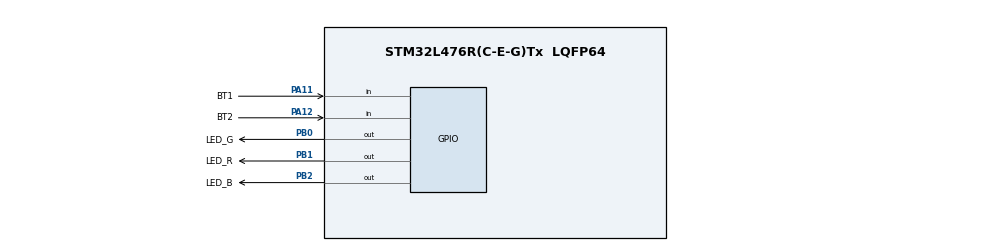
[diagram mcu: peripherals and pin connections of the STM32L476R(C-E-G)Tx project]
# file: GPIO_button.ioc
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Mcu.Family=STM32L4
Mcu.Name=STM32L476R(C-E-G)Tx
Mcu.Package=LQFP64
NVIC.PriorityGroup=NVIC_PRIORITYGROUP_4
PA11.GPIO_Label=BT1
PA11.GPIO_PuPd=GPIO_PULLUP
PA11.Signal=GPIO_Input
PA12.GPIO_Label=BT2
PA12.GPIO_PuPd=GPIO_PULLUP
PA12.Signal=GPIO_Input
PA13\ (JTMS-SWDIO).Mode=Serial_Wire
PA13\ (JTMS-SWDIO).Signal=SYS_JTMS-SWDIO
PA14\ (JTCK-SWCLK).Mode=Serial_Wire
PA14\ (JTCK-SWCLK).Signal=SYS_JTCK-SWCLK
PB0.GPIO_Label=LED_G
PB0.Signal=GPIO_Output
PB1.GPIO_Label=LED_R
PB1.Signal=GPIO_Output
PB2.GPIO_Label=LED_B
PB2.Signal=GPIO_Output
PH0-OSC_IN\ (PH0).Mode=HSE-External-Oscillator
PH0-OSC_IN\ (PH0).Signal=RCC_OSC_IN
PH1-OSC_OUT\ (PH1).Mode=HSE-External-Oscillator
PH1-OSC_OUT\ (PH1).Signal=RCC_OSC_OUT
ProjectManager.HeapSize=0x200
ProjectManager.StackSize=0x400
ProjectManager.TargetToolchain=MDK-ARM V5.32
RCC.HSE_VALUE=8000000
RCC.HSI_VALUE=16000000
RCC.LSE_VALUE=32768
RCC.MSI_VALUE=4000000
RCC.VCOOutputFreq_Value=32000000
board=custom

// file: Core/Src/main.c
/* USER CODE BEGIN Header */
/**
  ******************************************************************************
  * @file           : main.c
  * @brief          : Main program body
  ******************************************************************************
  * @attention
  *
  * Copyright (c) 2026 STMicroelectronics.
  * All rights reserved.
  *
  * This software is licensed under terms that can be found in the LICENSE file
  * in the root directory of this software component.
  * If no LICENSE file comes with this software, it is provided AS-IS.
  *
  ******************************************************************************
  */
/* USER CODE END Header */
#include "main.h"
#include "led_rgb.h"
#include "multiple_button.h"

/* USER CODE BEGIN PD */
GPIO_TypeDef *port_rgb[] = {GPIOB, GPIOB, GPIOB};
uint16_t pin_rgb[] = {LED_R_Pin, LED_B_Pin, LED_G_Pin};

GPIO_TypeDef *port_button[] = {GPIOA, GPIOA};
uint16_t pin_button[] = {BT1_Pin, BT2_Pin};

RGB mau;

BUTTON button1;
BUTTON button2;

uint8_t dem1;
uint8_t dem2;

uint32_t blink_time=0;

typedef enum
{
	LED_OFF,
	LED_RED_BLINK_1HZ,
	LED_GREEN_BLINK_5HZ,
	LED_BLUE_BLINK_10HZ,

} LedStatus;

LedStatus led_status;

/* USER CODE END PD */

void SystemClock_Config(void);
static void MX_GPIO_Init(void);

/* USER CODE BEGIN 0 */
// actions

void btn_pressing_callback(BUTTON *button)
{
	if(button == &button1)
	{

	}

	if(button == &button2)
	{

	}
}

void btn_release_callback(BUTTON *button)
{
	//btn2++;
}
void btn_press_short_callback(BUTTON *button)
{
	if (button == &button1)
	{
		//transition
		switch (led_status)
		{
			case LED_OFF:
				led_status = LED_RED_BLINK_1HZ;
				break;
			case LED_RED_BLINK_1HZ:
				led_status = LED_GREEN_BLINK_5HZ;
				break;
			case LED_GREEN_BLINK_5HZ:
				led_status = LED_BLUE_BLINK_10HZ;
				break;
			case LED_BLUE_BLINK_10HZ:
				led_status = LED_OFF;
			default:
				break;
		}
	}
	else if (button == &button2)
	{
		switch (led_status)
		{
			case LED_OFF:
				led_status = LED_RED_BLINK_1HZ;
				break;
			case LED_RED_BLINK_1HZ:
				led_status = LED_GREEN_BLINK_5HZ;
				break;
			case LED_GREEN_BLINK_5HZ:
				led_status = LED_BLUE_BLINK_10HZ;
				break;
			case LED_BLUE_BLINK_10HZ:
				led_status = LED_OFF;
			default:
				break;
		}
	}
}
void btn_press_long_callback(BUTTON *button)
{
	if (button == &button1)
	{
		switch (led_status)
		{

			case LED_RED_BLINK_1HZ:
				led_status = LED_OFF;
				break;
			case LED_GREEN_BLINK_5HZ:
				led_status = LED_OFF;
				break;
			case LED_BLUE_BLINK_10HZ:
				led_status = LED_OFF;
			default:
				break;
		}
	}
	else if (button == &button2)
	{
		switch (led_status)
		{
			case LED_RED_BLINK_1HZ:
				led_status = LED_OFF;
				break;
			case LED_GREEN_BLINK_5HZ:
				led_status = LED_OFF;
				break;
			case LED_BLUE_BLINK_10HZ:
				led_status = LED_OFF;
			default:
				break;
		}
	}
}

void led_off()
{
	rgb_setcolor(&mau, OFF);
}
void led_Red_Blink1Hz()
{
	rgb_blink(&mau, RED, 500);
}
void led_Green_Blink5Hz()
{
	rgb_blink(&mau, GREEN, 100);
}
void led_Blue_Blink10Hz()
{
	rgb_blink(&mau, BLUE, 50);
}

// goi action phu hop de tao output
void led_handle()
{
	switch (led_status)
		{
			case LED_OFF:
				led_off();
				break;
			case LED_RED_BLINK_1HZ:
				led_Red_Blink1Hz();
				break;
			case LED_GREEN_BLINK_5HZ:
				led_Green_Blink5Hz();
				break;
			case LED_BLUE_BLINK_10HZ:
				led_Blue_Blink10Hz();
			default:
				break;
		}
}

/* USER CODE END 0 */

int main(void)
{

  /* MCU Configuration--------------------------------------------------------*/

  /* Reset of all peripherals, Initializes the Flash interface and the Systick. */
  HAL_Init();
	//button_init(BUTTON *button, GPIO_TypeDef *port_button, uint16_t pin_button);
	button_init(&button1, port_button[0], pin_button[0]);
	button_init(&button2, port_button[1], pin_button[1]);

  /* USER CODE BEGIN Init */
	rgb_init(&mau,port_rgb, pin_rgb);

  /* USER CODE END Init */

  /* Configure the system clock */
  SystemClock_Config();

  /* USER CODE BEGIN SysInit */
	led_status = LED_OFF;
  /* USER CODE END SysInit */

  /* Initialize all configured peripherals */
  MX_GPIO_Init();

  /* Infinite loop */
  while (1)
  {
//		button_handle(&button1);
//		button_handle(&button2);
//		led_handle();

		//rgb_blink1(&mau, RED, GREEN, 1000);
		if (HAL_GetTick() - mau.last_time_on >= 1000)
			{
					rgb_toggle(&mau, RED);
					mau.last_time_on = HAL_GetTick();
			}
	if (HAL_GetTick() - mau.last_time_on1 >= 1000)
			{
					rgb_toggle(&mau, GREEN);
					mau.last_time_on1 = HAL_GetTick();
			}
  }
  /* USER CODE END 3 */
}

void SystemClock_Config(void)
{
  RCC_OscInitTypeDef RCC_OscInitStruct = {0};
  RCC_ClkInitTypeDef RCC_ClkInitStruct = {0};

  /** Configure the main internal regulator output voltage
  */
  if (HAL_PWREx_ControlVoltageScaling(PWR_REGULATOR_VOLTAGE_SCALE1) != HAL_OK)
  {
    Error_Handler();
  }

  /** Initializes the RCC Oscillators according to the specified parameters
  * in the RCC_OscInitTypeDef structure.
  */
  RCC_OscInitStruct.OscillatorType = RCC_OSCILLATORTYPE_MSI;
  RCC_OscInitStruct.MSIState = RCC_MSI_ON;
  RCC_OscInitStruct.MSICalibrationValue = 0;
  RCC_OscInitStruct.MSIClockRange = RCC_MSIRANGE_6;
  RCC_OscInitStruct.PLL.PLLState = RCC_PLL_NONE;
  if (HAL_RCC_OscConfig(&RCC_OscInitStruct) != HAL_OK)
  {
    Error_Handler();
  }

  /** Initializes the CPU, AHB and APB buses clocks
  */
  RCC_ClkInitStruct.ClockType = RCC_CLOCKTYPE_HCLK|RCC_CLOCKTYPE_SYSCLK
                              |RCC_CLOCKTYPE_PCLK1|RCC_CLOCKTYPE_PCLK2;
  RCC_ClkInitStruct.SYSCLKSource = RCC_SYSCLKSOURCE_MSI;
  RCC_ClkInitStruct.AHBCLKDivider = RCC_SYSCLK_DIV1;
  RCC_ClkInitStruct.APB1CLKDivider = RCC_HCLK_DIV1;
  RCC_ClkInitStruct.APB2CLKDivider = RCC_HCLK_DIV1;

  if (HAL_RCC_ClockConfig(&RCC_ClkInitStruct, FLASH_LATENCY_0) != HAL_OK)
  {
    Error_Handler();
  }
}

static void MX_GPIO_Init(void)
{
  GPIO_InitTypeDef GPIO_InitStruct = {0};

  /* GPIO Ports Clock Enable */
  __HAL_RCC_GPIOH_CLK_ENABLE();
  __HAL_RCC_GPIOB_CLK_ENABLE();
  __HAL_RCC_GPIOA_CLK_ENABLE();

  /*Configure GPIO pin Output Level */
  HAL_GPIO_WritePin(GPIOB, LED_G_Pin|LED_R_Pin|LED_B_Pin, GPIO_PIN_RESET);

  /*Configure GPIO pins : LED_G_Pin LED_R_Pin LED_B_Pin */
  GPIO_InitStruct.Pin = LED_G_Pin|LED_R_Pin|LED_B_Pin;
  GPIO_InitStruct.Mode = GPIO_MODE_OUTPUT_PP;
  GPIO_InitStruct.Pull = GPIO_NOPULL;
  GPIO_InitStruct.Speed = GPIO_SPEED_FREQ_LOW;
  HAL_GPIO_Init(GPIOB, &GPIO_InitStruct);

  /*Configure GPIO pins : BT1_Pin BT2_Pin */
  GPIO_InitStruct.Pin = BT1_Pin|BT2_Pin;
  GPIO_InitStruct.Mode = GPIO_MODE_INPUT;
  GPIO_InitStruct.Pull = GPIO_PULLUP;
  HAL_GPIO_Init(GPIOA, &GPIO_InitStruct);

}

void Error_Handler(void)
{
  __disable_irq();
  while (1)
  {
  }
}
